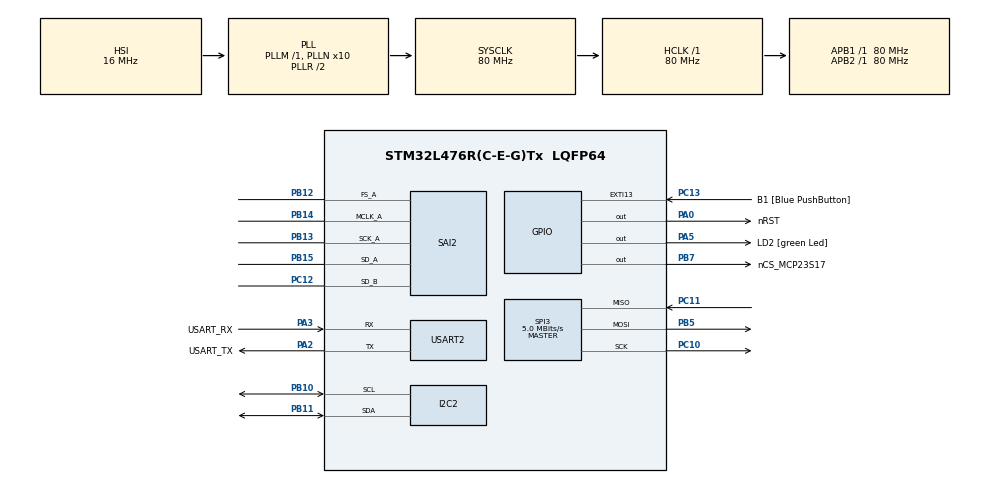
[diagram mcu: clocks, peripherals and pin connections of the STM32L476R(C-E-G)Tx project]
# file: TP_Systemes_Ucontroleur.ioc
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Dma.Request0=SAI2_A
Dma.Request1=SAI2_B
Dma.SAI2_A.0.Direction=DMA_MEMORY_TO_PERIPH
Dma.SAI2_A.0.Instance=DMA1_Channel6
Dma.SAI2_A.0.MemDataAlignment=DMA_MDATAALIGN_WORD
Dma.SAI2_A.0.MemInc=DMA_MINC_ENABLE
Dma.SAI2_A.0.Mode=DMA_CIRCULAR
Dma.SAI2_A.0.PeriphDataAlignment=DMA_PDATAALIGN_WORD
Dma.SAI2_A.0.PeriphInc=DMA_PINC_DISABLE
Dma.SAI2_A.0.Priority=DMA_PRIORITY_LOW
Dma.SAI2_B.1.Direction=DMA_PERIPH_TO_MEMORY
Dma.SAI2_B.1.Instance=DMA1_Channel7
Dma.SAI2_B.1.MemDataAlignment=DMA_MDATAALIGN_WORD
Dma.SAI2_B.1.MemInc=DMA_MINC_ENABLE
Dma.SAI2_B.1.Mode=DMA_CIRCULAR
Dma.SAI2_B.1.PeriphDataAlignment=DMA_PDATAALIGN_WORD
Dma.SAI2_B.1.PeriphInc=DMA_PINC_DISABLE
Dma.SAI2_B.1.Priority=DMA_PRIORITY_LOW
I2C2.Timing=0x10D19CE4
Mcu.Family=STM32L4
Mcu.Name=STM32L476R(C-E-G)Tx
Mcu.Package=LQFP64
NVIC.DMA1_Channel6_IRQn=true\:0\:0\:false\:false\:true\:false\:true\:true
NVIC.DMA1_Channel7_IRQn=true\:0\:0\:false\:false\:true\:false\:true\:true
NVIC.PriorityGroup=NVIC_PRIORITYGROUP_4
PA0.GPIO_Label=nRST
PA0.PinState=GPIO_PIN_RESET
PA0.Signal=GPIO_Output
PA13\ (JTMS-SWDIO).GPIO_Label=TMS
PA13\ (JTMS-SWDIO).Signal=SYS_JTMS-SWDIO
PA14\ (JTCK-SWCLK).GPIO_Label=TCK
PA14\ (JTCK-SWCLK).Signal=SYS_JTCK-SWCLK
PA2.GPIO_Label=USART_TX
PA2.GPIO_Mode=GPIO_MODE_AF_PP
PA2.GPIO_PuPd=GPIO_NOPULL
PA2.GPIO_Speed=GPIO_SPEED_FREQ_VERY_HIGH
PA2.Mode=Asynchronous
PA2.Signal=USART2_TX
PA3.GPIO_Label=USART_RX
PA3.GPIO_Mode=GPIO_MODE_AF_PP
PA3.GPIO_PuPd=GPIO_NOPULL
PA3.GPIO_Speed=GPIO_SPEED_FREQ_VERY_HIGH
PA3.Mode=Asynchronous
PA3.Signal=USART2_RX
PA5.GPIO_Label=LD2 [green Led]
PA5.GPIO_ModeDefaultOutputPP=GPIO_MODE_OUTPUT_PP
PA5.GPIO_PuPd=GPIO_NOPULL
PA5.GPIO_Speed=GPIO_SPEED_FREQ_LOW
PA5.Signal=GPIO_Output
PB10.Mode=I2C
PB10.Signal=I2C2_SCL
PB11.Mode=I2C
PB11.Signal=I2C2_SDA
PB12.Mode=SAI_A_MasterWithClock
PB12.Signal=SAI2_FS_A
PB13.Mode=SAI_A_MasterWithClock
PB13.Signal=SAI2_SCK_A
PB14.Mode=SAI_A_MasterWithClock
PB14.Signal=SAI2_MCLK_A
PB15.Mode=SAI_A_MasterWithClock
PB15.Signal=SAI2_SD_A
PB3\ (JTDO-TRACESWO).GPIO_Label=SWO
PB3\ (JTDO-TRACESWO).Signal=SYS_JTDO-SWO
PB5.Mode=Full_Duplex_Master
PB5.Signal=SPI3_MOSI
PB7.GPIO_Label=nCS_MCP23S17
PB7.PinState=GPIO_PIN_SET
PB7.Signal=GPIO_Output
PC10.Mode=Full_Duplex_Master
PC10.Signal=SPI3_SCK
PC11.Mode=Full_Duplex_Master
PC11.Signal=SPI3_MISO
PC12.Mode=SAI_B_SyncSlave
PC12.Signal=SAI2_SD_B
PC13.GPIO_Label=B1 [Blue PushButton]
PC13.GPIO_ModeDefaultEXTI=GPIO_MODE_IT_FALLING
PC13.GPIO_PuPd=GPIO_NOPULL
PC13.Signal=GPXTI13
PC14-OSC32_IN\ (PC14).Mode=LSE-External-Oscillator
PC14-OSC32_IN\ (PC14).Signal=RCC_OSC32_IN
PC15-OSC32_OUT\ (PC15).Mode=LSE-External-Oscillator
PC15-OSC32_OUT\ (PC15).Signal=RCC_OSC32_OUT
PH0-OSC_IN\ (PH0).Signal=RCC_OSC_IN
PH1-OSC_OUT\ (PH1).Signal=RCC_OSC_OUT
ProjectManager.HeapSize=0x200
ProjectManager.StackSize=0x400
ProjectManager.TargetToolchain=STM32CubeIDE
RCC.ADCFreq_Value=104000000
RCC.AHBFreq_Value=80000000
RCC.APB1Freq_Value=80000000
RCC.APB1TimFreq_Value=80000000
RCC.APB2Freq_Value=80000000
RCC.APB2TimFreq_Value=80000000
RCC.CortexFreq_Value=80000000
RCC.HCLKFreq_Value=80000000
RCC.HSE_VALUE=8000000
RCC.HSI_VALUE=16000000
RCC.MSI_VALUE=4000000
RCC.PLLN=10
RCC.PLLSAI1N=13
RCC.PLLSAI1P=RCC_PLLP_DIV17
RCC.PLLSourceVirtual=RCC_PLLSOURCE_HSI
RCC.PREFETCH_ENABLE=1
RCC.SYSCLKFreq_VALUE=80000000
RCC.SYSCLKSource=RCC_SYSCLKSOURCE_PLLCLK
RCC.USBFreq_Value=104000000
RCC.VCOOutputFreq_Value=160000000
SAI2.AudioFrequency-SAI_A_MasterWithClock=SAI_AUDIO_FREQUENCY_48K
SAI2.ErrorAudioFreq-SAI_A_MasterWithClock=-0.42 %
SAI2.InitProtocol-SAI_A_MasterWithClock=Enable
SAI2.InitProtocol-SAI_B_SyncSlave=Enable
SAI2.Instance-SAI_A_MasterWithClock=SAI$Index_Block_A
SAI2.Instance-SAI_B_SyncSlave=SAI$Index_Block_B
SAI2.MClockEnable-SAI_A_MasterWithClock=SAI_MASTERCLOCK_ENABLE
SAI2.RealAudioFreq-SAI_A_MasterWithClock=47.794 KHz
SAI2.VirtualMode-SAI_A_MasterWithClock=VM_MASTER
SAI2.VirtualMode-SAI_B_SyncSlave=VM_SLAVE
SAI2.VirtualProtocol-SAI_A_BASIC=VM_BASIC_PROTOCOL
SAI2.VirtualProtocol-SAI_B_BASIC=VM_BASIC_PROTOCOL
SPI3.BaudRatePrescaler=SPI_BAUDRATEPRESCALER_16
SPI3.CalculateBaudRate=5.0 MBits/s
SPI3.DataSize=SPI_DATASIZE_8BIT
SPI3.Direction=SPI_DIRECTION_2LINES
SPI3.Mode=SPI_MODE_MASTER
SPI3.VirtualType=VM_MASTER
USART2.VirtualMode-Asynchronous=VM_ASYNC
VP_SAI2_VP_$IpInstance_SAIA_SAI_BASIC.Mode=SAI_A_BASIC
VP_SAI2_VP_$IpInstance_SAIB_SAI_BASIC.Mode=SAI_B_BASIC
board=NUCLEO-L476RG

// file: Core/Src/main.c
/* USER CODE BEGIN Header */
/**
 ******************************************************************************
 * @file           : main.c
 * @brief          : Main program body
 ******************************************************************************
 * @attention
 *
 * Copyright (c) 2025 STMicroelectronics.
 * All rights reserved.
 *
 * This software is licensed under terms that can be found in the LICENSE file
 * in the root directory of this software component.
 * If no LICENSE file comes with this software, it is provided AS-IS.
 *
 ******************************************************************************
 */
/* USER CODE END Header */
#include "main.h"
#include "dma.h"
#include "i2c.h"
#include "sai.h"
#include "spi.h"
#include "usart.h"
#include "gpio.h"

/* USER CODE BEGIN Includes */
#include <stdio.h>
#include "MCP23S17.h"
#include "SGTL5000.h"
/* USER CODE END Includes */

/* USER CODE BEGIN PD */
#define SAI_TX_BUFFER_LENGTH (48*2)
#define SAI_RX_BUFFER_LENGTH (48*2)
/* USER CODE END PD */

/* USER CODE BEGIN PV */
static int16_t sai_tx_buffer[SAI_TX_BUFFER_LENGTH];
static int16_t sai_rx_buffer[SAI_RX_BUFFER_LENGTH];

/* USER CODE END PV */

void SystemClock_Config(void);
void PeriphCommonClock_Config(void);

/* USER CODE BEGIN 0 */
int	__io_putchar(int t)
{
	HAL_UART_Transmit(&huart2, (uint8_t*)&t, 1, 100);
	return (t);
}

void	testLed()
{
	HAL_GPIO_TogglePin(LD2_GPIO_Port, LD2_Pin);
	HAL_Delay(500); // attendre 500ms
	return ;
}
void	testUart()
{
	printf("Bonjour, je suis un test \r\n");
	return ;
}

void	testGPIOExpander()
{
	int i = 0;
	int state = 1;
	while (i < 8)
	{
		MCP23S17_SetPin('A', i, 0);
		MCP23S17_SetPin('B', i, 0);

		state *= 2;
		i++;
		HAL_Delay(1000);
	}
	MCP23S17_SetMultiplePins('A', 0xff, 0xff);
	MCP23S17_SetMultiplePins('B', 0xff, 0xff);
	return ;
}

static int rx_cplt_flag = 0;
static int rx_cplt_counter = 0;

void HAL_SAI_RxCpltCallback(SAI_HandleTypeDef *hsai)
{
	if (SAI2_Block_B == hsai->Instance)
	{
		rx_cplt_flag = 1;

		for (int i = SAI_RX_BUFFER_LENGTH / 2 ; i < SAI_RX_BUFFER_LENGTH ; i++)
		{
			sai_tx_buffer[i] = sai_rx_buffer[i];
		}
	}
	rx_cplt_counter++;
}
static int rx_half_cplt_flag = 0;
static int rx_half_counter = 0;
void HAL_SAI_RxHalfCpltCallback(SAI_HandleTypeDef *hsai)
{
	if (SAI2_Block_B == hsai->Instance)
	{
		rx_half_cplt_flag = 1;

		for (int i = 0 ; i < SAI_RX_BUFFER_LENGTH / 2 ; i++)
		{
			sai_tx_buffer[i] = sai_rx_buffer[i];
		}
		rx_half_counter++;
	}
}
/* USER CODE END 0 */

int main(void)
{

	/* MCU Configuration--------------------------------------------------------*/

	/* Reset of all peripherals, Initializes the Flash interface and the Systick. */
	HAL_Init();

	/* Configure the system clock */
	SystemClock_Config();

	/* Configure the peripherals common clocks */
	PeriphCommonClock_Config();

	/* Initialize all configured peripherals */
	MX_GPIO_Init();
	MX_DMA_Init();
	MX_USART2_UART_Init();
	MX_SPI3_Init();
	MX_I2C2_Init();
	MX_SAI2_Init();
	/* USER CODE BEGIN 2 */
	HAL_GPIO_WritePin(nRST_GPIO_Port, nRST_Pin, 1);
	MCP23S17_Init(&hspi3);
	sgtl5000_init(&hi2c2);
	HAL_SAI_Receive_DMA(&hsai_BlockB2, (uint8_t*) sai_rx_buffer, SAI_RX_BUFFER_LENGTH / 2);
	HAL_SAI_Transmit_DMA(&hsai_BlockA2, (uint8_t*) sai_tx_buffer, SAI_TX_BUFFER_LENGTH / 2);

	/* USER CODE END 2 */

	/* Infinite loop */
	/* USER CODE BEGIN WHILE */
	uint8_t led_max;
	int ave_counter = 0;
	int ave = 0;
	int ave_max = 100;
	while (1)
	{
		uint8_t data[2];
		HAL_I2C_Mem_Read(&hi2c2, 0x14, 0x0000, 2, data, 2, 0x400);
		printf("I2C read = 0x%X, 0x%X\n\r", data[0], data[1]);
		if (rx_cplt_flag)
		{
			rx_cplt_flag = 0;

			ave += sai_rx_buffer[0];
			ave_counter++;

			if (ave_counter == ave_max)
			{

				ave /= ave_max;
				if (ave < 0) ave = -ave;

				led_max = (ave/5 * 8) / 100;
				if (led_max > 8) led_max = 8;
				for (uint8_t i = 0; i < 8; i++)
				{
					MCP23S17_SetPin('A', i, i < led_max);
					MCP23S17_SetPin('B', i, i < led_max);
				}

				ave = 0;
				ave_counter = 0;
			}
		}
		//testLed(); // Fonction test LED
		//testUart();
		//testGPIOExpander();
		/* USER CODE END WHILE */

	}
}

void SystemClock_Config(void)
{
	RCC_OscInitTypeDef RCC_OscInitStruct = {0};
	RCC_ClkInitTypeDef RCC_ClkInitStruct = {0};

	/** Configure the main internal regulator output voltage
	 */
	if (HAL_PWREx_ControlVoltageScaling(PWR_REGULATOR_VOLTAGE_SCALE1) != HAL_OK)
	{
		Error_Handler();
	}

	/** Initializes the RCC Oscillators according to the specified parameters
	 * in the RCC_OscInitTypeDef structure.
	 */
	RCC_OscInitStruct.OscillatorType = RCC_OSCILLATORTYPE_HSI;
	RCC_OscInitStruct.HSIState = RCC_HSI_ON;
	RCC_OscInitStruct.HSICalibrationValue = RCC_HSICALIBRATION_DEFAULT;
	RCC_OscInitStruct.PLL.PLLState = RCC_PLL_ON;
	RCC_OscInitStruct.PLL.PLLSource = RCC_PLLSOURCE_HSI;
	RCC_OscInitStruct.PLL.PLLM = 1;
	RCC_OscInitStruct.PLL.PLLN = 10;
	RCC_OscInitStruct.PLL.PLLP = RCC_PLLP_DIV7;
	RCC_OscInitStruct.PLL.PLLQ = RCC_PLLQ_DIV2;
	RCC_OscInitStruct.PLL.PLLR = RCC_PLLR_DIV2;
	if (HAL_RCC_OscConfig(&RCC_OscInitStruct) != HAL_OK)
	{
		Error_Handler();
	}

	/** Initializes the CPU, AHB and APB buses clocks
	 */
	RCC_ClkInitStruct.ClockType = RCC_CLOCKTYPE_HCLK|RCC_CLOCKTYPE_SYSCLK
			|RCC_CLOCKTYPE_PCLK1|RCC_CLOCKTYPE_PCLK2;
	RCC_ClkInitStruct.SYSCLKSource = RCC_SYSCLKSOURCE_PLLCLK;
	RCC_ClkInitStruct.AHBCLKDivider = RCC_SYSCLK_DIV1;
	RCC_ClkInitStruct.APB1CLKDivider = RCC_HCLK_DIV1;
	RCC_ClkInitStruct.APB2CLKDivider = RCC_HCLK_DIV1;

	if (HAL_RCC_ClockConfig(&RCC_ClkInitStruct, FLASH_LATENCY_4) != HAL_OK)
	{
		Error_Handler();
	}
}

void PeriphCommonClock_Config(void)
{
	RCC_PeriphCLKInitTypeDef PeriphClkInit = {0};

	/** Initializes the peripherals clock
	 */
	PeriphClkInit.PeriphClockSelection = RCC_PERIPHCLK_SAI2;
	PeriphClkInit.Sai2ClockSelection = RCC_SAI2CLKSOURCE_PLLSAI1;
	PeriphClkInit.PLLSAI1.PLLSAI1Source = RCC_PLLSOURCE_HSI;
	PeriphClkInit.PLLSAI1.PLLSAI1M = 1;
	PeriphClkInit.PLLSAI1.PLLSAI1N = 13;
	PeriphClkInit.PLLSAI1.PLLSAI1P = RCC_PLLP_DIV17;
	PeriphClkInit.PLLSAI1.PLLSAI1Q = RCC_PLLQ_DIV2;
	PeriphClkInit.PLLSAI1.PLLSAI1R = RCC_PLLR_DIV2;
	PeriphClkInit.PLLSAI1.PLLSAI1ClockOut = RCC_PLLSAI1_SAI1CLK;
	if (HAL_RCCEx_PeriphCLKConfig(&PeriphClkInit) != HAL_OK)
	{
		Error_Handler();
	}
}

void Error_Handler(void)
{
	__disable_irq();
	while (1)
	{
	}
}
